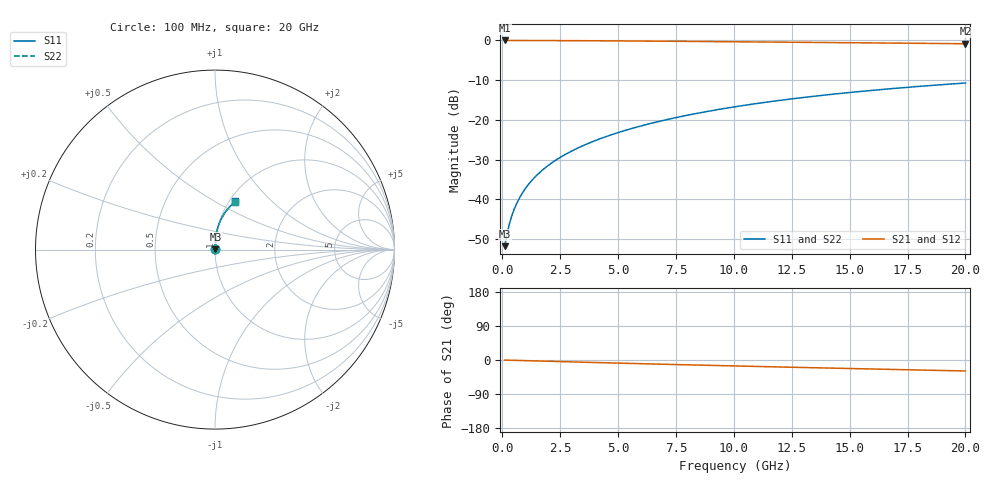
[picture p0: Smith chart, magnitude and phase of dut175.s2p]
! Touchstone file exported from HFSS 2024.1.0
!  File:  C:/UserFiles/LocalFiles/RDL_TSV_Batchsim/temp_RDL_top_175_1778685983.aedt
!  Generated:  11:28:48 PM May 13, 2026
!  Design:  RDL_top
!  Project:  temp_RDL_top_175_1778685983
!  Setup:  Setup1
!  Solution:  Sweep
! Variables:
!  dtsv = 10.80580581um
!  hbump = 3um
!  htsv = 94.43um
!  ldown = 100um
!  lrdl = 379.86um
!  p = 40
!  p1 = 51.02um
!  rhole = 1um
!  t = 450um
!  tdown = 3.915915916um
!  trdl = 3.22um
!  wdown = 15.38538539um
!  wrdl = 22.07um
# GHz S MA R 50.000000
! Terminal data exported
! Port[1] = Box2_T1
! Port[2] = Box2_T2
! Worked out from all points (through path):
!   200 points, 100 MHz to 20 GHz, reference 50 ohm
!   highest |S21| = -0.02 dB at 100 MHz (marker M1); lowest = -0.8 dB at 20 GHz (marker M2)
!   group delay of S21, straight-line fit = 3.99 ps
!   lowest |S11| = -51.8 dB at 100 MHz (marker M3), VSWR 1.01, Z = 50.2 + j0.147 ohm
!   |S11| at or under -10 dB: start of sweep to end of sweep
!   |S22| runs from -51.8 to -10.7 dB; largest |S21 - S12| = 2.1e-15
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0.1  0.002576 34.6  0.9979 -0.2  0.9979 -0.2  0.002576 34.6
! Gamma 0 0 0 0
! Port Impedance 50 0 50 0
0.2  0.003631 52.6  0.9978 -0.4  0.9978 -0.4  0.003631 52.6
0.3  0.004838 61.6  0.9976 -0.5  0.9976 -0.5  0.004838 61.6
0.4  0.006078 66.9  0.9975 -0.7  0.9975 -0.7  0.006078 66.9
0.5  0.00733 70.4  0.9974 -0.9  0.9974 -0.9  0.00733 70.4
0.6  0.008589 73.0  0.9973 -1.0  0.9973 -1.0  0.008589 73.0
0.8  0.01113 76.6  0.9971 -1.4  0.9971 -1.4  0.01113 76.6
1.1  0.01501 79.8  0.9967 -1.9  0.9967 -1.9  0.01501 79.8
1.3  0.01762 81.3  0.9964 -2.2  0.9964 -2.2  0.01762 81.3
1.6  0.02158 82.7  0.9959 -2.7  0.9959 -2.7  0.02158 82.7
2.1  0.02828 84.3  0.9949 -3.5  0.9949 -3.5  0.02828 84.3
2.7  0.03645 85.3  0.9934 -4.5  0.9934 -4.5  0.03645 85.3
3.5  0.04758 85.9  0.991 -5.8  0.991 -5.8  0.04757 85.9
4.2  0.05754 86.0  0.9884 -7.0  0.9884 -7.0  0.05753 86.0
5  0.06916 85.8  0.9852 -8.2  0.9852 -8.2  0.06916 85.8
5.9  0.08251 85.3  0.9813 -9.6  0.9813 -9.6  0.0825 85.3
6.8  0.0961 84.6  0.9771 -11.0  0.9771 -11.0  0.09609 84.6
8.4  0.1206 83.0  0.9692 -13.4  0.9692 -13.4  0.1206 83.0
10.1  0.1469 80.9  0.9605 -15.8  0.9605 -15.8  0.1469 80.9
13.4  0.1973 76.4  0.9433 -20.4  0.9433 -20.4  0.1972 76.4
16.7  0.2456 71.7  0.9257 -24.7  0.9257 -24.7  0.2455 71.7
20  0.2909 67.2  0.9076 -29.0  0.9076 -29.0  0.2908 67.1
